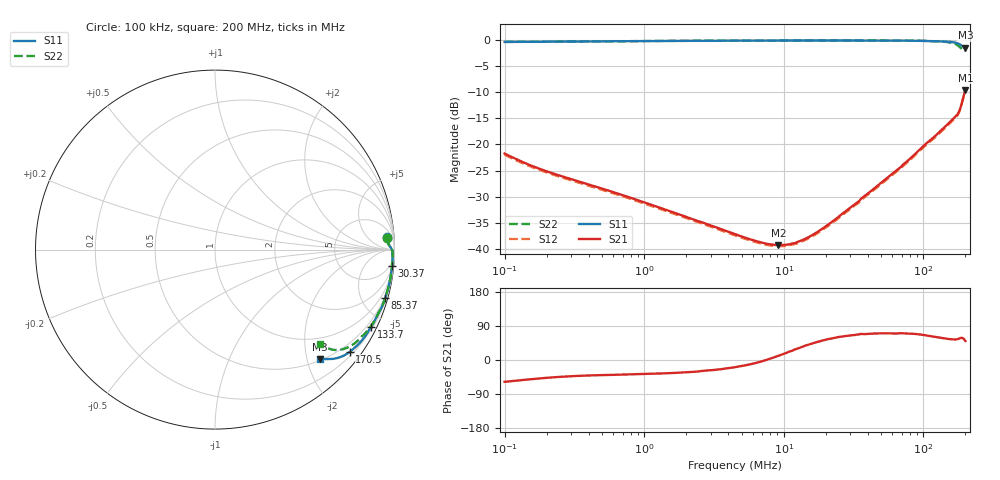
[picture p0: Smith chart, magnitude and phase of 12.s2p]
#  HZ  S  RI  R  50.00
! Rohde & Schwarz Vector Network Analyzer
! Rohde-Schwarz,ZNLE6-2Port,1323001256200024,1.71.1.10-23.02.1.238
! Created: UTC 4/8/2025, 4:56:58 AM
! freq[Hz]  re:S11  im:S11  re:S21  im:S21  re:S12  im:S12  re:S22  im:S22
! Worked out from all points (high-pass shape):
!   1001 points, 100 kHz to 200 MHz, reference 50 ohm
!   highest |S21| = -9.58 dB at 200 MHz (marker M1); lowest = -39.3 dB at 9.137 MHz (marker M2)
!   |S21| within 3 dB of the highest: 186.4 MHz to end of sweep
!   lowest |S11| = -1.5 dB at 200 MHz (marker M3), VSWR 11.86, Z = 26.3 - j112 ohm
!   |S11| at or under -10 dB: nowhere
!   |S22| runs from -2.1 to -0.1 dB; largest |S21 - S12| = 0.0088
!   S11 on the Smith chart (normalised r, x): 100 kHz: 12, +21; 30.37 MHz: 2, -21; 85.37 MHz: 0.37, -7.12; 133.7 MHz: 0.29, -4.24; 170.5 MHz: 0.29, -2.94; 200 MHz: 0.53, -2.24
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100000  0.9566 0.0686  0.0439 -0.0691  0.0427 -0.0674  0.9577 0.0668
175499.6  0.9616 0.0437  0.0388 -0.0443  0.0378 -0.0433  0.9626 0.0426
355854.1  0.9677 0.0278  0.0325 -0.0287  0.0317 -0.0281  0.9686 0.0271
1266322  0.9798 0.0115  0.0203 -0.0147  0.0198 -0.0143  0.9803 0.0114
4472136  0.9868 -0.00652  0.0131 -0.0045  0.0127 -0.00455  0.9874 -0.00552
7110135  0.9883 -0.0165  0.0114 -0.000467  0.0111 -0.000686  0.9888 -0.0148
9137172  0.989 -0.0238  0.0107 0.00208  0.0105 0.00175  0.9894 -0.0219
1.047684e7  0.989 -0.0281  0.0104 0.00358  0.0102 0.00336  0.9896 -0.0264
1.201293e7  0.9895 -0.0336  0.0101 0.00531  0.01 0.00486  0.9897 -0.0312
1.591428e7  0.9892 -0.0464  0.00981 0.00928  0.00967 0.0089  0.9898 -0.0437
2.060734e7  0.9888 -0.0618  0.00972 0.0138  0.00987 0.0132  0.9893 -0.0582
3.036509e7  0.9863 -0.0932  0.0106 0.0228  0.0105 0.0221  0.9872 -0.0883
5.663162e7  0.9737 -0.1777  0.0165 0.0465  0.017 0.0448  0.9756 -0.1687
8.537184e7  0.948 -0.2707  0.0281 0.0735  0.0289 0.0712  0.9517 -0.2582
1.105477e8  0.9101 -0.3524  0.0485 0.0969  0.0492 0.0933  0.9181 -0.3399
1.336828e8  0.8687 -0.4314  0.0707 0.1167  0.07 0.1125  0.8732 -0.4189
1.55631e8  0.8107 -0.515  0.0941 0.1351  0.0924 0.1314  0.8079 -0.4953
1.704937e8  0.7502 -0.5701  0.109 0.1508  0.1073 0.1471  0.735 -0.5471
1.811826e8  0.6872 -0.6026  0.1145 0.1766  0.113 0.1742  0.6593 -0.5584
1.882009e8  0.6412 -0.6095  0.1286 0.2098  0.1289 0.2079  0.6165 -0.5396
1.940108e8  0.6077 -0.6087  0.1606 0.242  0.1627 0.2365  0.603 -0.5247
2e8  0.5841 -0.6099  0.2124 0.2552  0.2083 0.2474  0.5847 -0.5248
